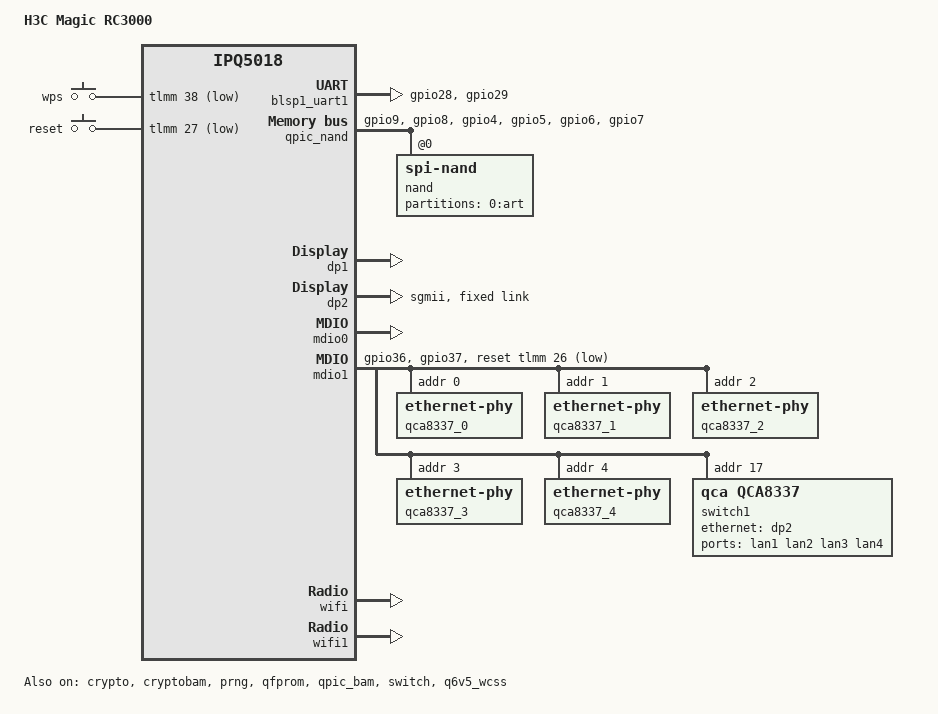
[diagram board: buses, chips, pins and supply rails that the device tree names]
// SPDX-License-Identifier: GPL-2.0-or-later OR MIT
//
// H3C Magic RC3000 —— 主线 OpenWrt（qualcommax/ipq50xx，内核 6.12）
//
// 全部参数均来自本机实测（/proc/device-tree、dmesg、/proc/mtd），不是推测。
//
// 硬件：
//   SoC      IPQ5018 (qcom,ipq5018-mp02.1)，双核 A53 @1.0GHz，集成 256MB DDR3L
//   NAND     Micron MT29F1G01ABBFDWB-IT，128MiB，page 2048，OOB 128，ECC 8bit/512
//   2.4G     SoC 集成
//   5G       QCN6102（QSDK 软件名 qcn6122），PCIe
//   交换机   内部 QCA MP（出 WAN）+ 外部 QCA8337（出 3×LAN）
//
// 实测关键值（原厂 DTB）：
//   mdio@90000/phy-reset-gpio = <&tlmm 26 0>
//   ess-switch1@1（外部 QCA8337）: access=mdio, cpu_bmp=0x40(port6),
//                                  lan_bmp=0x1e(port1-4), wan_bmp=0
//   port_phyinfo: port_id 1/2/3 -> phy_address 0/1/2
//   ess-switch@0x39c00000（内部）: access=local bus, port@0 phy_address=7 -> WAN
//   gpio_keys: button@1 = wps, gpios = <&tlmm 38 GPIO_ACTIVE_LOW>
//   内核 BDF: cnss2.bdf_integrated=0x10（2.4G）, bdf_pci0=0x50（5G）

/dts-v1/;

#include "ipq5018.dtsi"
#include "ipq5018-ess.dtsi"
#include "ipq5018-qcn6122.dtsi"

#include <dt-bindings/gpio/gpio.h>
#include <dt-bindings/input/input.h>
#include <dt-bindings/leds/common.h>

/ {
	model = "H3C Magic RC3000";
	compatible = "h3c,rc3000", "qcom,ipq5018";

	aliases {
		label-mac-device = <&dp1>;

		serial0 = &blsp1_uart1;
	};

	chosen {
		bootargs-append = " root=/dev/ubiblock0_1 swiotlb=1 coherent_pool=2M";
		stdout-path = "serial0:115200n8";
	};

	keys {
		compatible = "gpio-keys";
		pinctrl-0 = <&button_pins>;
		pinctrl-names = "default";

		// 原厂 DTB 只有这一个按键：wps，gpio38 低有效
		button-wps {
			label = "wps";
			gpios = <&tlmm 38 GPIO_ACTIVE_LOW>;
			linux,code = <KEY_WPS_BUTTON>;
		};

		// reset 键未出现在原厂 DTB 里；RC3000 面板确实有复位键，
		// 若按下无效可尝试 27（同平台参照值）。不影响启动。
		button-reset {
			label = "reset";
			gpios = <&tlmm 27 GPIO_ACTIVE_LOW>;
			linux,code = <KEY_RESTART>;
		};
	};
};

&sleep_clk {
	clock-frequency = <32000>;
};

&xo_board_clk {
	clock-div = <4>;
	clock-mult = <1>;
};

&blsp1_uart1 {
	status = "okay";

	pinctrl-0 = <&serial_0_pins>;
	pinctrl-names = "default";
};

// Crypto 引擎（官方 MR3000D-CI 有我们没有的最后差异项之一，逐项对齐）
&crypto {
	status = "okay";
};

&cryptobam {
	status = "okay";
};

&prng {
	status = "okay";
};

&qfprom {
	status = "okay";
};

&qpic_bam {
	status = "okay";
};

&qpic_nand {
	pinctrl-0 = <&qpic_pins>;
	pinctrl-names = "default";
	status = "okay";

	// Micron MT29F1G01ABBFDWB-IT
	nand@0 {
		compatible = "spi-nand";
		reg = <0>;

		nand-ecc-engine = <&qpic_nand>;
		// 实测 dmesg: nandeccbits=8, OOB 128
		nand-ecc-step-size = <512>;
		nand-ecc-strength = <8>;
		nand-bus-width = <8>;

		// 分区表由 bootloader 写入 SMEM。本机实测 mtd 布局：
		//   mtd13 0:ART, mtd15 rootfs_1@0x900000, mtd16 rootfs@0x3100000
		partitions {
			compatible = "qcom,smem-part";

			partition-art {
				label = "0:art";
				read-only;

				nvmem-layout {
					compatible = "fixed-layout";
					#address-cells = <1>;
					#size-cells = <1>;

					// 实测 ethaddr=40:FE:95:C4:19:C8 在 ART 起始处
					macaddr_art_0: mac-address@0 {
						compatible = "mac-base";
						reg = <0x0 0x6>;
						#nvmem-cell-cells = <1>;
					};

					macaddr_art_6: mac-address@6 {
						compatible = "mac-base";
						reg = <0x6 0x6>;
						#nvmem-cell-cells = <1>;
					};

					macaddr_art_c: mac-address@c {
						compatible = "mac-base";
						reg = <0xc 0x6>;
						#nvmem-cell-cells = <1>;
					};

					macaddr_art_12: mac-address@12 {
						compatible = "mac-base";
						reg = <0x12 0x6>;
						#nvmem-cell-cells = <1>;
					};
				};
			};
		};
	};
};

/*
 * ===============================================================
 *  实测网络模型（与原厂 DTB、RT3000 B 机一致）：
 *
 *    内部 switch0 (QCA MP, local bus)
 *        port@0 -> phy_address 7 (内部 GE PHY) -> eth0 = WAN
 *    外部 switch1 (QCA8337, mdio)
 *        port 1,2,3 -> phy 0,1,2  = LAN1..LAN3
 *        port 6                   = CPU 上行 -> eth1 (SGMII)
 *        wan_bmp = 0  -> WAN 不在外部交换机上
 * ===============================================================
 */

// dp1 (=MAC0) -> 内部 GE PHY -> 内部交换机 port -> WAN
&dp1 {
	status = "okay";

	nvmem-cell-names = "mac-address";
	nvmem-cells = <&macaddr_art_0 (0)>;
};

// dp2 (=MAC1) -> SGMII -> 外部 QCA8337
&dp2 {
	status = "okay";

	phy-mode = "sgmii";

	nvmem-cell-names = "mac-address";
	nvmem-cells = <&macaddr_art_6 (0)>;

	fixed-link {
		speed = <1000>;
		full-duplex;
	};
};

// 内部 MDIO 必须使能：注册 ge_phy 会去复位 GCC_GEPHY_MISC_ARES，
// 该复位同时门控 mdio1 共享的 MDC/MDIO 通路。关掉 mdio0 会让
// 外部 QCA8337 在 mdio1 上完全不响应。
&mdio0 {
	status = "okay";
};

&ge_phy {
	qcom,dac-preset-short-cable;
};

// 内部 ESS 交换机（QCA MP）：dp1 经 GE Phy(phy7) 出 WAN，
// dp2 经 SGMII 通道连外部 QCA8337（port6）。结构与 mr3000d-ci 一致（已验证可编译/启动）。
&switch {
	status = "okay";

	// dp2(MAC1) 经 SGMII 连外部 QCA8337，需使能 uniphy SGMII 通道
	switch_mac_mode = <MAC_MODE_SGMII_CHANNEL0>;

	qcom,port_phyinfo {
		// MAC0 (dp1) -> 内部 GE Phy (phy7, mdio0) -> 内部交换机 -> WAN
		port@1 {
			port_id = <1>;
			mdiobus = <&mdio0>;
			phy_address = <7>;
		};

		// MAC1 (dp2) -> SGMII -> 外部 QCA8337 SerDes (port6)
		port@2 {
			port_id = <2>;
			mdiobus = <&mdio1>;
			forced-speed = <1000>;
			forced-duplex = <1>;
		};
	};
};

&mdio1 {
	status = "okay";

	pinctrl-0 = <&mdio1_pins>;
	pinctrl-names = "default";

	// 实测：/proc/device-tree/soc/mdio@90000/phy-reset-gpio = <&tlmm 26 0>
	reset-gpios = <&tlmm 26 GPIO_ACTIVE_LOW>;

	/*
	 * [实测 -22 修复] ipq4019-mdio 驱动 probe 时先读 MDIO_MODE_REG
	 * 推算 MDC 分频，但此刻 GCC_MDIO1_AHB_CLK 尚未使能、且寄存器残留
	 * U-Boot 的非标准 div 值 → set_div 在 {8,16,...,256} 找不到匹配
	 * → -EINVAL(-22)，mdio1 整个死掉、QCA8337 无法注册。
	 * 写死 clock-frequency 后驱动直接采用该值（select_mdc_rate 首分支
	 * return），不再读寄存器。3125000 = 100MHz/32，落在驱动合法分频
	 * 集合内且与实测 clk rate(99999999) 精确整除。
	 */
	clock-frequency = <3125000>;

	qca8337_0: ethernet-phy@0 {
		reg = <0>;
	};

	qca8337_1: ethernet-phy@1 {
		reg = <1>;
	};

	qca8337_2: ethernet-phy@2 {
		reg = <2>;
	};

	// QCA8337 Phy3（U-Boot 实测 "Port4 Up" 即此口，丝印 LAN3）
	qca8337_3: ethernet-phy@3 {
		reg = <3>;
	};

	// QCA8337 Phy4（与 IPQ5018 内置 GE PHY 级联的对端）
	qca8337_4: ethernet-phy@4 {
		reg = <4>;
	};

	switch1: ethernet-switch@17 {
		compatible = "qca,qca8337";
		reg = <17>;
		#address-cells = <1>;
		#size-cells = <0>;

		// [实测修复] qca8k/DSA 驱动要求子节点名为 "ports"，
		// 之前写成 "ethernet-ports" 导致交换机端口无法注册。
		ports {
			#address-cells = <1>;
			#size-cells = <0>;

			port@1 {
				reg = <1>;
				label = "lan1";
				phy-handle = <&qca8337_0>;
			};

			port@2 {
				reg = <2>;
				label = "lan2";
				phy-handle = <&qca8337_1>;
			};

			port@3 {
				reg = <3>;
				label = "lan3";
				phy-handle = <&qca8337_2>;
			};

			port@4 {
				reg = <4>;
				label = "lan4";
				phy-handle = <&qca8337_3>;
			};

			port@6 {
				reg = <6>;
				phy-mode = "sgmii";
				ethernet = <&dp2>;
				qca,sgmii-enable-pll;

				fixed-link {
					speed = <1000>;
					full-duplex;
				};
			};
		};
	};
};

&tlmm {
	button_pins: button-state {
		button-pins {
			pins = "gpio27", "gpio38";
			function = "gpio";
			drive-strength = <8>;
			bias-pull-up;
		};
	};

	mdio1_pins: mdio-state {
		mdc-pins {
			pins = "gpio36";
			function = "mdc";
			drive-strength = <8>;
			bias-pull-up;
		};

		mdio-pins {
			pins = "gpio37";
			function = "mdio";
			drive-strength = <8>;
			bias-pull-up;
		};
	};

	qpic_pins: qpic-state {
		clock-pins {
			pins = "gpio9";
			function = "qspi_clk";
			drive-strength = <8>;
			bias-disable;
		};

		cs-pins {
			pins = "gpio8";
			function = "qspi_cs";
			drive-strength = <8>;
			bias-disable;
		};

		data-pins {
			pins = "gpio4", "gpio5", "gpio6", "gpio7";
			function = "qspi_data";
			drive-strength = <8>;
			bias-disable;
		};
	};

	serial_0_pins: uart0-state {
		pins = "gpio28", "gpio29";
		function = "blsp0_uart1";
		drive-strength = <8>;
		bias-disable;
	};
};

&q6v5_wcss {
	status = "okay";

	/* QCN6102 挂在 UPD ID 2；不指定时固件默认找 UPD ID 3 */
	boot-args = <
		/*       type:	*/	0x1	/* PCIE0	*/
		/*     length:	*/	4
		/*     UPD ID:	*/	2
		/* reset GPIO:	*/	15
		/*   reserved:	*/	0 0>;
};

// BDF 加载策略（实测已切到 B 方案）
//
// A. qcom,bdf-addr（已弃用）：2026-10-08 实机 initramfs 启动，
//    dmesg 报 "failed to fetch board data ... board-2.bin"（2.4G 直接
//    找不到匹配，5G QCN6102 固件 USER-PD 初始化卡死看门狗崩溃），
//    证实原厂 U-Boot 未把 BDF 预填到预留地址，A 方案不成立。
//
// B. 标准 firmware 路径（当前方案）—— 不写 bdf-addr，ath11k 读
//      /lib/firmware/ath11k/IPQ5018/hw1.0/board-2.bin   (2.4G)
//      /lib/firmware/ath11k/QCN6122/hw1.0/board-2.bin   (5G)
//    文件已用本机 caldata 构造好，经 ipq-wifi 打包进镜像，见 openwrt/board/。

&wifi {
	// IPQ5018 集成 2.4G
	status = "okay";

	qcom,rproc = <&q6_wcss_pd1>;
	qcom,ath11k-calibration-variant = "H3C-RC3000";
	qcom,ath11k-fw-memory-mode = <1>;
};

&wifi1 {
	// QCN6102 5G
	status = "okay";

	qcom,rproc = <&q6_wcss_pd2>;
	qcom,userpd-subsys-name = "q6v5_wcss_userpd2";
	qcom,ath11k-calibration-variant = "H3C-RC3000";
	qcom,ath11k-fw-memory-mode = <1>;
	qcom,m3-dump-addr = <0x4df00000>;
};
